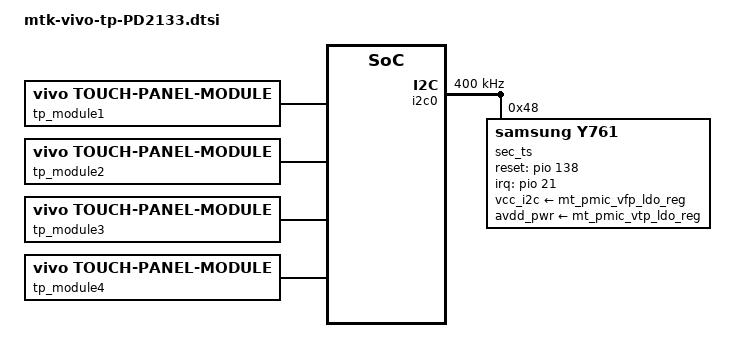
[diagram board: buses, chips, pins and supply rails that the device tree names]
/*********************touch screen config *************************/
&touchscreencfg { /* vivo ts configure */
	tp_module1 {
		compatible = "vivo,touch-panel-module";
		vts-ic-number=<72>;
		vts-type=<0>;
		vts-lcmid=<32>;        //CPD2027
		vts-dimention-x=<1440>;
		vts-dimention-y=<3120>;
		vts-display-x=<1080>;
		vts-display-y=<2376>;
		vts-tx-sensors=<17>;
		vts-rx-sensors=<37>;
		vts-incell=<0>;
		vts-need-caliberation=<1>;
		vts-virtual-proximinity=<0>;
		vts-long-press=<1>;
		vts-band=<1>;
		vts-gesture=<1>;
		vts-module-vendor=<0x90>;
		vts-report-timestamp=<1>;
		vts-finger-mode=<1>;
		vts-resolution-adjust=<1>;
		vts-game-mode=<1>;
		vts-game-idle-time=<10>;
		vts-screen-clock=<1>;
		vts-sclock-hilight=<1>;
		vts-input-method=<1>;
		vts-screenshot-triger=<1>;
		vts-finger-center=<1>;
		vts-finger-center-x=<540>;
		vts-finger-center-y=<2114>;
		vts-reject-area-collect=<25>;
		vts-gamemode-freq=<1>;
		vts-set-card-region=<1>;
		vts-set-card-region-width = <200>;
		vts-game-save-power=<1>;
		vts-tx-freq-write=<1>;

		vts-edge-rejection=<1>;
		cfg_version="0004";
		cfg_normal_portrait="config:0:5:0,0,0,10,0,10,0,0,0,1,30,200,100,30,1,0,0,25,0,25,0,1,0,1,65,300,65,300,256,0,0,100,0,0,0";
		cfg_input_method_portrait="config:1:5:0,0,0,10,0,10,0,0,0,1,45,200,200,45,1,0,0,25,0,25,0,1,0,1,65,300,65,300,256,0,0,100,0,0,0";
		cfg_game_portrait="config:2:5:0,0,0,10,0,10,0,0,0,1,30,200,100,30,1,0,0,25,0,25,0,1,0,1,65,300,65,300,256,0,0,70,0,0,0";
		cfg_normal_landscape="config:3:7:0,1,0,10,0,10,0,0,1,2,30,100,100,30,0,1,3,30,100,100,30,1,1,0,30,50,30,50,1,1,2,80,80,80,80,1,1,3,100,100,100,100,256,0,0,70,0,0,0";
		cfg_game_landscape="config:4:7:0,1,0,10,0,5,0,0,1,2,0,0,0,0,0,1,3,30,200,100,30,1,1,0,30,50,30,50,1,1,2,0,0,0,0,1,1,3,50,50,50,50,256,0,0,50,0,0,0";
		cfg_video_landscape="config:5:7:0,1,0,10,0,10,0,0,1,2,50,100,100,50,0,1,3,50,100,100,50,1,1,0,30,70,30,50,1,1,2,100,200,100,200,1,1,3,100,200,100,200,256,0,0,80,0,0,0";
		cfg_normal_special="config:6:1:256,0,0,100,0,0,0";
		cfg_lying_special="config:7:1:256,0,0,135,0,0,0";
	};

	tp_module2 {
		compatible = "vivo,touch-panel-module";
		vts-ic-number=<72>;
		vts-type=<0>;
		vts-lcmid=<33 255>;          //CPD2043
		vts-dimention-x=<1440>;
		vts-dimention-y=<3120>;
		vts-display-x=<1080>;
		vts-display-y=<2376>;
		vts-tx-sensors=<17>;
		vts-rx-sensors=<37>;
		vts-incell=<0>;
		vts-need-caliberation=<1>;
		vts-virtual-proximinity=<1>;
		vts-long-press=<1>;
		vts-band=<1>;
		vts-gesture=<1>;
		vts-module-vendor=<0x90>;
		vts-report-timestamp=<1>;
		vts-finger-mode=<1>;
		vts-resolution-adjust=<1>;
		vts-game-mode=<1>;
		vts-game-idle-time=<10>;
		vts-screen-clock=<1>;
		vts-sclock-hilight=<1>;
		vts-input-method=<1>;
		vts-screenshot-triger=<1>;
		vts-finger-center=<1>;
		vts-finger-center-x=<540>;
		vts-finger-center-y=<2114>;
		vts-reject-area-collect=<25>;
		vts-gamemode-freq=<1>;
		vts-set-card-region=<1>;
		vts-set-card-region-width = <200>;
		vts-game-save-power=<1>;
		vts-tx-freq-write=<1>;
	};

	tp_module3 {
		compatible = "vivo,touch-panel-module";
		vts-ic-number=<72>;
		vts-type=<0>;
		vts-lcmid=<34>;          //CPD2072
		vts-dimention-x=<11171>;
		vts-dimention-y=<24576>;
		vts-display-x=<1080>;
		vts-display-y=<2376>;
		vts-tx-sensors=<17>;
		vts-rx-sensors=<37>;
		vts-incell=<0>;
		vts-need-caliberation=<1>;
		vts-virtual-proximinity=<1>;
		vts-long-press=<1>;
		vts-band=<1>;
		vts-gesture=<1>;
		vts-module-vendor=<0x90>;
		vts-report-timestamp=<1>;
		vts-finger-mode=<1>;
		vts-resolution-adjust=<1>;
		vts-game-mode=<1>;
		vts-game-idle-time=<10>;
		vts-screen-clock=<1>;
		vts-sclock-hilight=<1>;
		vts-input-method=<1>;
		vts-screenshot-triger=<1>;
		vts-finger-center=<1>;
		vts-finger-center-x=<540>;
		vts-finger-center-y=<2114>;
		vts-gamemode-freq=<1>;
		vts-reject-area-collect=<25>;
		vts-set-card-region=<1>;
		vts-set-card-region-width = <200>;
		vts-game-save-power=<1>;
		vts-tx-freq-write=<1>;
	};

	tp_module4 {
		compatible = "vivo,touch-panel-module";
		vts-ic-number=<72>;
		vts-type=<0>;
		vts-lcmid=<35>;          //CPD2073
		vts-dimention-x=<11171>;
		vts-dimention-y=<24576>;
		vts-display-x=<1080>;
		vts-display-y=<2376>;
		vts-tx-sensors=<17>;
		vts-rx-sensors=<37>;
		vts-incell=<0>;
		vts-need-caliberation=<1>;
		vts-virtual-proximinity=<0>;
		vts-long-press=<1>;
		vts-band=<1>;
		vts-gesture=<1>;
		vts-module-vendor=<0x90>;
		vts-report-timestamp=<1>;
		vts-finger-mode=<1>;
		vts-resolution-adjust=<1>;
		vts-game-mode=<1>;
		vts-game-idle-time=<10>;
		vts-screen-clock=<1>;
		vts-sclock-hilight=<1>;
		vts-input-method=<1>;
		vts-screenshot-triger=<1>;
		vts-finger-center=<1>;
		vts-finger-center-x=<540>;
		vts-finger-center-y=<2114>;
		vts-gamemode-freq=<1>;
		vts-reject-area-collect=<25>;
		vts-set-card-region=<1>;
		vts-set-card-region-width = <200>;
		vts-game-save-power=<1>;
		vts-tx-freq-write=<1>;

		vts-edge-rejection=<1>;
		cfg_version="0004";
		cfg_normal_portrait="config:0:5:0,0,0,10,0,10,0,0,0,1,30,200,100,30,1,0,0,25,0,25,0,1,0,1,65,300,65,300,256,0,0,100,0,0,0";
		cfg_input_method_portrait="config:1:5:0,0,0,10,0,10,0,0,0,1,45,200,200,45,1,0,0,25,0,25,0,1,0,1,65,300,65,300,256,0,0,100,0,0,0";
		cfg_game_portrait="config:2:5:0,0,0,10,0,10,0,0,0,1,30,200,100,30,1,0,0,25,0,25,0,1,0,1,65,300,65,300,256,0,0,70,0,0,0";
		cfg_normal_landscape="config:3:7:0,1,0,10,0,10,0,0,1,2,30,100,100,30,0,1,3,30,100,100,30,1,1,0,30,50,30,50,1,1,2,80,80,80,80,1,1,3,100,100,100,100,256,0,0,70,0,0,0";
		cfg_game_landscape="config:4:7:0,1,0,10,0,5,0,0,1,2,0,0,0,0,0,1,3,30,200,100,30,1,1,0,30,50,30,50,1,1,2,0,0,0,0,1,1,3,50,50,50,50,256,0,0,50,0,0,0";
		cfg_video_landscape="config:5:7:0,1,0,10,0,10,0,0,1,2,50,100,100,50,0,1,3,50,100,100,50,1,1,0,30,70,30,50,1,1,2,100,200,100,200,1,1,3,100,200,100,200,256,0,0,80,0,0,0";
		cfg_normal_special="config:6:1:256,0,0,100,0,0,0";
		cfg_lying_special="config:7:1:256,0,0,135,0,0,0";
	};

	
};

/ {
	fragment@touch {
		target-path = "/";
		__overlay__ {
			mobileevent {
				status = "okay";
				compatible = "vivo,mobile_event";
				vivo-i2c-event=<1>;
				vivo-channel-broken=<1>;
				vivo-click-event=<1>;
				vivo-unexpected-reset-event=<1>;
				vivo-log-system=<0>;
				vivo-prox-near=<1>;
				vivo-hsync-collect=<1>;
				vivo-ic-mode=<1>;
				vivo-int-cost=<1>;
				vivo-large-press-event=<1>;
				vivo-multi-touch=<1>;
				vivo-press-area=<1>;
				vivo-edge-reject-fail=<1>;
				vivo-resume-to-touch=<1>;
				vivo-handler-cost=<1>;
				vivo-five-more-touch=<1>;
			};
		};
	};
};

&pio {
	tp_i2c_driving_set_active:tp_i2c_driving_set_active { 
		pins_cmd_dat { 
			pinmux = <PINMUX_GPIO204__FUNC_SCL0>,
					 <PINMUX_GPIO205__FUNC_SDA0>;
					 bias-disable;
		}; 
	};	
	
	tp_i2c_driving_set_suspend:tp_i2c_driving_set_suspend { 
		pins_cmd_dat { 
			pinmux = <PINMUX_GPIO204__FUNC_SCL0>,
					 <PINMUX_GPIO205__FUNC_SDA0>;
					 bias-disable;
		}; 
	};

	tp_int_driving_set_driving:tp_int_driving_set_driving {
		pins_cmd_dat {
			pinmux = <PINMUX_GPIO21__FUNC_GPIO21>;
			bias-disable;
		};
	};

};

&i2c0 {
	status = "okay";
	clock-frequency = <400000>;
	sec_ts@48 {
		compatible = "samsung,y761";
		reg = <0x48>;
		interrupt-parent = <&pio>;
		interrupts = <21 IRQ_TYPE_EDGE_FALLING 21 0>;
		
		samsung,reset-gpio = <&pio 138 0x00>;
		samsung,irq-gpio = <&pio 21 0x00>;
		
		pinctrl-names ="ts_active","ts_suspend";
		pinctrl-0 = <&tp_i2c_driving_set_active &tp_int_driving_set_driving>;
		pinctrl-1 = <&tp_i2c_driving_set_suspend &tp_int_driving_set_driving>;
		
		vts-ic-number=<72>;
		vts-type=<0>;
		
		vcc_i2c-supply = <&mt_pmic_vfp_ldo_reg>;
		avdd_pwr-supply = <&mt_pmic_vtp_ldo_reg>;
		
		
		sensor-test-key="com.detection.ts.touch_detection:MainActivity:com.detection.ts.touch_detection:0:secTpResult";
		lcm-noise-test-key="com.detection.ts.noise_detection_apk:MainActivity:null:null:null";
		rf-noise-test-key="com.detection.ts.noise_detection_apk:BspTestActivity:com.detection.ts.noise_detection_apk:0:secBspResult";
		rawdata-test-key="com.detection.ts.noise_detection_apk:DataShowActivity:null:null:null";
	};
};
